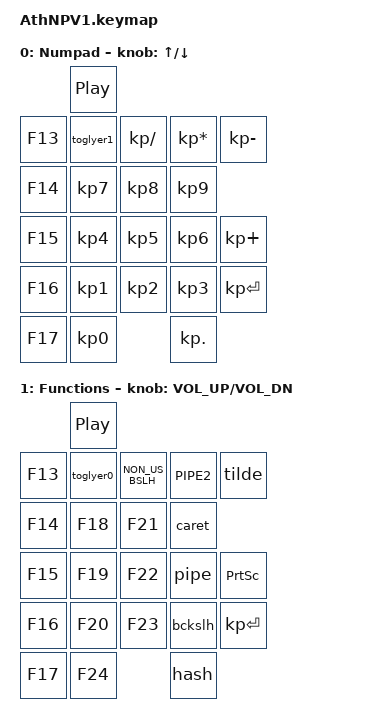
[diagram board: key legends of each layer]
#include <behaviors.dtsi>
#include <dt-bindings/zmk/keys.h>
#include <dt-bindings/zmk/rgb.h>

/ {

    macros {
            arobase: arobase {
                compatible = "zmk,behavior-macro";
                #binding-cells = <0>;
                bindings
                    = <&macro_press &kp RALT>
                    , <&macro_tap &kp N0>
                    , <&macro_release &kp RALT>
                    ;
            };
            hash: hash {
                compatible = "zmk,behavior-macro";
                #binding-cells = <0>;
                bindings
                    = <&macro_press &kp RALT>
                    , <&macro_tap &kp N3>
                    , <&macro_release &kp RALT>
                    ;
            };
            tilde: tilde {
                compatible = "zmk,behavior-macro";
                #binding-cells = <0>;
                bindings
                    = <&macro_press &kp LALT>
                    , <&macro_tap &kp KP_N0 &kp KP_N1 &kp KP_N2 &kp KP_N6 >
                    , <&macro_release &kp LALT>
                    ;
            };
            caret: caret {
                compatible = "zmk,behavior-macro";
                #binding-cells = <0>;
                bindings
                    = <&macro_press &kp LALT>
                    , <&macro_tap &kp KP_N9 &kp KP_N4  >
                    , <&macro_release &kp LALT>
                    ;
            };
            bckslh: bckslh {
                compatible = "zmk,behavior-macro";
                #binding-cells = <0>;
                bindings
                    = <&macro_press &kp LALT>
                    , <&macro_tap &kp KP_N9 &kp KP_N2  >
                    , <&macro_release &kp LALT>
                    ;
            };
            pipe: pipe {
                compatible = "zmk,behavior-macro";
                #binding-cells = <0>;
                bindings
                    = <&macro_press &kp LALT>
                    , <&macro_tap &kp KP_N0 &kp KP_N1 &kp KP_N2 &kp KP_N4 >
                    , <&macro_release &kp LALT>
                    ;
            };
            toglyer1: toglyer1{
                compatible = "zmk,behavior-macro";
                #binding-cells = <0>;
                bindings
                    = <&macro_tap &tog 1 &rgb_ug RGB_COLOR_HSB(0,100,60)>
                    ;
            };
            toglyer0: toglyer0{
                compatible = "zmk,behavior-macro";
                #binding-cells = <0>;
                bindings
                    = <&macro_tap &tog 1 &rgb_ug RGB_COLOR_HSB(120,10,60)>
                    ;
            };
    
    };

    keymap {
        compatible = "zmk,keymap";

        default_layer { // Layer 0
            display-name = "Numpad";
        //---------------------------------------- 
        //         | PLAY   |
        //   F13   | &tog 1 | KP DIV | KP MUL | KP MIN
        //   F14   | KP N 7 | KP N 8 | KP N 9 |
        //   F15   | KP N 4 | KP N 5 | KP N 6 | KP PLUS
        //   F16   | KP N 1 | KP N 2 | KP N 3 | KP ENTR
        //   F17   | KP N 0 |        | KP DOT
            bindings = <
                        &kp C_PP
            &kp F13     &toglyer1   &kp KP_DIVIDE   &kp KP_MULTIPLY   &kp KP_MINUS
            &kp F14     &kp KP_N7   &kp KP_N8       &kp KP_N9
            &kp F15     &kp KP_N4   &kp KP_N5       &kp KP_N6         &kp KP_PLUS
            &kp F16     &kp KP_N1   &kp KP_N2       &kp KP_N3         &kp KP_ENTER
            &kp F17     &kp KP_N0                   &kp KP_DOT 
        >;
            sensor-bindings = <&inc_dec_kp UP DOWN>;
        };
         FUNCT { // Layer 1
            display-name = "Functions";
        //---------------------------------------- 
        //         |  PLAY  |
        //   F13   | &tog 1 |  <  |  >  |  ~
        //   F14   |   F18  | F21 |  ^  |
        //   F15   |   F19  | F22 |  |  | PSCRN
        //   F16   |   F20  | F23 |  \  | KP ENTR
        //   F17   |   F24  |     |  #
            bindings = <
                        &kp C_PP
            &kp F13     &toglyer0     &kp NON_US_BSLH &kp PIPE2  &tilde
            &kp F14     &kp F18       &kp F21         &caret 
            &kp F15     &kp F19       &kp F22         &pipe      &kp PSCRN
            &kp F16     &kp F20       &kp F23         &bckslh    &kp KP_ENTER
            &kp F17     &kp F24                       &hash
        >;
            sensor-bindings = <&inc_dec_kp C_VOL_UP C_VOL_DN>;
        };
    };
 };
